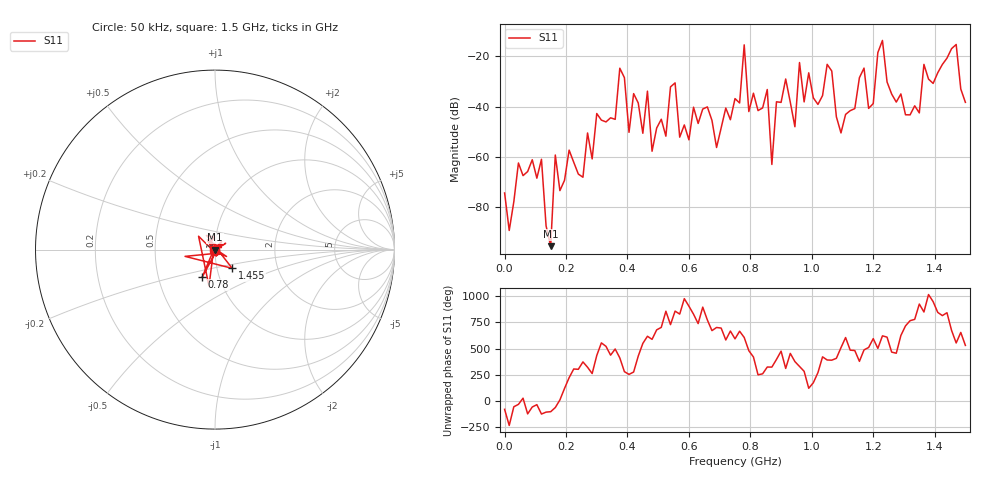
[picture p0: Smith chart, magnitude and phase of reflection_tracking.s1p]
! Created with skrf 1.8.0 (http://scikit-rf.org).
# Hz S RI R 50.0
!freq ReS11 ImS11
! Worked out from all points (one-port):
!   101 points, 50 kHz to 1.5 GHz, reference 50 ohm
!   lowest |S11| = -95.4 dB at 150 MHz (marker M1), VSWR 1.00, Z = 50 - j0.00166 ohm
!   |S11| at or under -10 dB: start of sweep to end of sweep
!   S11 on the Smith chart (normalised r, x): 50 kHz: 1.00, -0.00; 780 MHz: 0.83, -0.26; 1.455 GHz: 1.18, -0.25; 1.5 GHz: 0.98, +0.00
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50000  3.56e-05 -0.000189
1.20046e8  -0.000502 -0.000746
1.50045e8  -3.43e-06 -1.66e-05
1.650445e8  0.000511 -0.000966
1.950435e8  -0.00017 0.000298
3.60038e8  -0.00397 0.00392
3.750375e8  0.0367 0.0447
4.050365e8  -0.000871 -0.00296
4.650345e8  -0.00468 -0.0197
4.80034e8  -0.000883 -0.000955
5.550315e8  -0.0213 0.0205
5.70031e8  -0.000754 0.00236
6.90027e8  0.00145 -0.000522
7.50025e8  -0.00887 -0.0114
7.80024e8  -0.071 -0.1525
7.950235e8  -0.00385 0.00698
8.550215e8  0.0176 -0.013
8.70021e8  0.000566 -0.000428
9.150195e8  0.0229 -0.0269
9.450185e8  0.00384 0.00106
9.60018e8  0.0644 -0.0384
1.125012e9  -0.00471 0.00683
1.170011e9  -0.0348 0.0465
1.20001e9  -0.00673 -0.0093
1.230009e9  -0.0334 -0.203
1.320006e9  0.00484 0.00485
1.455002e9  0.0957 -0.1043
1.5e9  -0.012 0.00221
